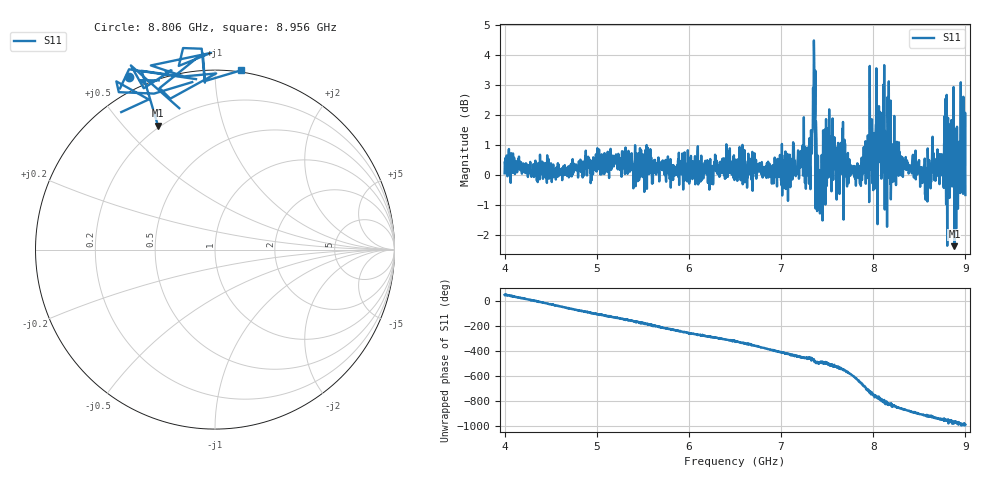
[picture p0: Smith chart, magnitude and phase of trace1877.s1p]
! Created with skrf 1.8.0 (http://scikit-rf.org).
# Hz S RI R 50.0
!freq ReS11 ImS11
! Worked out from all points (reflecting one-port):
!   1601 points, 4 GHz to 9 GHz, reference 50 ohm
!   lowest |S11| = -2.4 dB at 8.881 GHz (marker M1), VSWR 7.32, Z = 9.56 + j31.2 ohm
!   phase of S11 starts at 50 deg and turns -1042 deg over the sweep
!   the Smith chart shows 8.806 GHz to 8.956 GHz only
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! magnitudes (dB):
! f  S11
! 4 GHz  0.0
! 4.625 GHz  -0.2
! 5.25 GHz  0.2
! 5.875 GHz  0.3
! 6.5 GHz  0.3
! 7.125 GHz  0.2
! 7.294 GHz  0.5
! 7.319 GHz  -0.5
! 7.347 GHz  2.9
! 7.372 GHz  3.5
! 7.4 GHz  0.6
! 7.428 GHz  0.1
! 7.512 GHz  1.1
! 7.75 GHz  0.0
! 7.859 GHz  0.1
! 7.962 GHz  3.6
! 8.022 GHz  0.5
! 8.097 GHz  1.1
! 8.128 GHz  1.5
! 8.178 GHz  2.2
! 8.216 GHz  0.9
! 8.375 GHz  0.3
! 8.588 GHz  -0.9
! 8.847 GHz  1.8
! 8.881 GHz  -2.4
! 8.9 GHz  -1.8
! 8.972 GHz  0.5
! 9 GHz  -0.7
